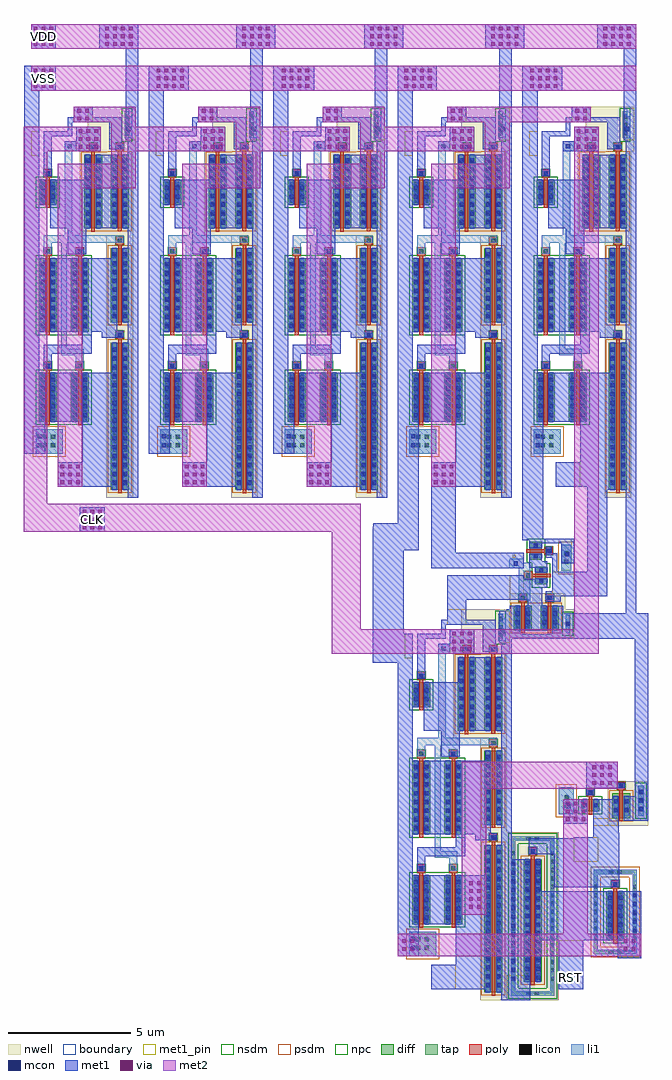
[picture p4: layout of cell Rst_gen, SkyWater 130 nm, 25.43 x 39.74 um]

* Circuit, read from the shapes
.subckt Rst_gen CLK RST VDD VSS
XM1 n1 n2 VSS VSS sky130_fd_pr__nfet_01v8 w=2 l=0.15
XM2 n3 CLK VSS VSS sky130_fd_pr__nfet_01v8 w=3 l=0.15
XM3 n4 Register_tspc_3/CLK VSS VSS sky130_fd_pr__nfet_01v8 w=1 l=0.15
XM4 Register_tspc_3/CLK CLK n1 VSS sky130_fd_pr__nfet_01v8 w=2 l=0.15
XM5 n2 n4 n3 VSS sky130_fd_pr__nfet_01v8 w=3 l=0.15
XM6 n5 n6 VSS VSS sky130_fd_pr__nfet_01v8 w=2 l=0.15
XM7 n7 Register_tspc_3/CLK VSS VSS sky130_fd_pr__nfet_01v8 w=3 l=0.15
XM8 n8 Register_tspc_4/CLK VSS VSS sky130_fd_pr__nfet_01v8 w=1 l=0.15
XM9 Register_tspc_4/CLK Register_tspc_3/CLK n5 VSS sky130_fd_pr__nfet_01v8 w=2 l=0.15
XM10 n6 n8 n7 VSS sky130_fd_pr__nfet_01v8 w=3 l=0.15
XM11 n9 n10 VSS VSS sky130_fd_pr__nfet_01v8 w=2 l=0.15
XM12 n11 Register_tspc_4/CLK VSS VSS sky130_fd_pr__nfet_01v8 w=3 l=0.15
XM13 n12 Register_tspc_6/CLK VSS VSS sky130_fd_pr__nfet_01v8 w=1 l=0.15
XM14 Register_tspc_6/CLK Register_tspc_4/CLK n9 VSS sky130_fd_pr__nfet_01v8 w=2 l=0.15
XM15 n10 n12 n11 VSS sky130_fd_pr__nfet_01v8 w=3 l=0.15
XM16 n13 n14 VSS VSS sky130_fd_pr__nfet_01v8 w=2 l=0.15
XM17 n15 CLK VSS VSS sky130_fd_pr__nfet_01v8 w=3 l=0.15
XM18 n16 Register_tspc_7/D VSS VSS sky130_fd_pr__nfet_01v8 w=1 l=0.15
XM19 n17 n18 VSS VSS sky130_fd_pr__nfet_01v8 w=2 l=0.15
XM20 n19 Register_tspc_6/CLK VSS VSS sky130_fd_pr__nfet_01v8 w=3 l=0.15
XM21 n20 Register_tspc_6/D VSS VSS sky130_fd_pr__nfet_01v8 w=1 l=0.15
XM22 Register_tspc_7/Qc CLK n13 VSS sky130_fd_pr__nfet_01v8 w=2 l=0.15
XM23 n14 n16 n15 VSS sky130_fd_pr__nfet_01v8 w=3 l=0.15
XM24 Register_tspc_6/D Register_tspc_6/CLK n17 VSS sky130_fd_pr__nfet_01v8 w=2 l=0.15
XM25 n18 n20 n19 VSS sky130_fd_pr__nfet_01v8 w=3 l=0.15
XM26 VSS NAND2-1_2/In_2 n21 VSS sky130_fd_pr__nfet_01v8 w=0.5 l=0.15
XM27 n21 Register_tspc_6/D Register_tspc_7/D VSS sky130_fd_pr__nfet_01v8 w=0.5 l=0.15
XM28 n22 n23 VSS VSS sky130_fd_pr__nfet_01v8 w=2 l=0.15
XM29 n24 CLK VSS VSS sky130_fd_pr__nfet_01v8 w=3 l=0.15
XM30 n25 Register_tspc_6/D VSS VSS sky130_fd_pr__nfet_01v8 w=1 l=0.15
XM31 NAND2-1_2/In_2 CLK n22 VSS sky130_fd_pr__nfet_01v8 w=2 l=0.15
XM32 n23 n25 n24 VSS sky130_fd_pr__nfet_01v8 w=3 l=0.15
XM33 InvBig_1/In Register_tspc_7/Qc VSS VSS sky130_fd_pr__nfet_01v8 w=0.5 l=0.15
XM34 VSS InvBig_1/In RST VSS sky130_fd_pr__nfet_01v8 w=2 l=0.15
XM35 n26 CLK n4 VDD sky130_fd_pr__pfet_01v8 w=3 l=0.15
XM36 VDD Register_tspc_3/CLK n26 VDD sky130_fd_pr__pfet_01v8 w=3 l=0.15
XM37 VDD n2 Register_tspc_3/CLK VDD sky130_fd_pr__pfet_01v8 w=6 l=0.15
XM38 VDD CLK n2 VDD sky130_fd_pr__pfet_01v8 w=3 l=0.15
XM39 n27 Register_tspc_3/CLK n8 VDD sky130_fd_pr__pfet_01v8 w=3 l=0.15
XM40 VDD Register_tspc_4/CLK n27 VDD sky130_fd_pr__pfet_01v8 w=3 l=0.15
XM41 VDD n6 Register_tspc_4/CLK VDD sky130_fd_pr__pfet_01v8 w=6 l=0.15
XM42 VDD Register_tspc_3/CLK n6 VDD sky130_fd_pr__pfet_01v8 w=3 l=0.15
XM43 n28 Register_tspc_4/CLK n12 VDD sky130_fd_pr__pfet_01v8 w=3 l=0.15
XM44 VDD Register_tspc_6/CLK n28 VDD sky130_fd_pr__pfet_01v8 w=3 l=0.15
XM45 VDD n10 Register_tspc_6/CLK VDD sky130_fd_pr__pfet_01v8 w=6 l=0.15
XM46 VDD Register_tspc_4/CLK n10 VDD sky130_fd_pr__pfet_01v8 w=3 l=0.15
XM47 n29 CLK n16 VDD sky130_fd_pr__pfet_01v8 w=3 l=0.15
XM48 n30 Register_tspc_6/CLK n20 VDD sky130_fd_pr__pfet_01v8 w=3 l=0.15
XM49 VDD Register_tspc_7/D n29 VDD sky130_fd_pr__pfet_01v8 w=3 l=0.15
XM50 VDD Register_tspc_6/D n30 VDD sky130_fd_pr__pfet_01v8 w=3 l=0.15
XM51 VDD n14 Register_tspc_7/Qc VDD sky130_fd_pr__pfet_01v8 w=6 l=0.15
XM52 VDD CLK n14 VDD sky130_fd_pr__pfet_01v8 w=3 l=0.15
XM53 VDD n18 Register_tspc_6/D VDD sky130_fd_pr__pfet_01v8 w=6 l=0.15
XM54 VDD Register_tspc_6/CLK n18 VDD sky130_fd_pr__pfet_01v8 w=3 l=0.15
XM55 Register_tspc_7/D Register_tspc_6/D VDD VDD sky130_fd_pr__pfet_01v8 w=1 l=0.15
XM56 RST InvBig_1/In VDD VDD sky130_fd_pr__pfet_01v8 w=5 l=0.15
XM57 VDD NAND2-1_2/In_2 Register_tspc_7/D VDD sky130_fd_pr__pfet_01v8 w=1 l=0.15
XM58 n31 CLK n25 VDD sky130_fd_pr__pfet_01v8 w=3 l=0.15
XM59 VDD Register_tspc_6/D n31 VDD sky130_fd_pr__pfet_01v8 w=3 l=0.15
XM60 VDD n23 NAND2-1_2/In_2 VDD sky130_fd_pr__pfet_01v8 w=6 l=0.15
XM61 VDD CLK n23 VDD sky130_fd_pr__pfet_01v8 w=3 l=0.15
XM62 VDD Register_tspc_7/Qc InvBig_1/In VDD sky130_fd_pr__pfet_01v8 w=1 l=0.15
.ends

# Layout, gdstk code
from math import pi, radians
import gdstk
lib = gdstk.Library(unit=1e-6, precision=1e-09)
def R(c, l, rs):  # rectangles x0, y0, x1, y1
    for r in rs: c.add(gdstk.rectangle(r[:2], r[2:], *l))
def A(c, l, x, y, w, h, nx, ny, dx, dy):  # array of equal rectangles
    R(c, l, [(x+i*dx, y+j*dy, x+i*dx+w, y+j*dy+h) for i in range(nx) for j in range(ny)])
nwell = (64, 20)
diff = (65, 20)
tap = (65, 44)
poly = (66, 20)
licon = (66, 44)
li1 = (67, 20)
mcon = (67, 44)
met1_pin = (68, 16)
met1 = (68, 20)
via = (68, 44)
met2 = (69, 20)
nsdm = (93, 44)
psdm = (94, 20)
npc = (95, 20)
boundary = (235, 4)

sky130_fd_pr__nfet_01v8_ = lib.new_cell('sky130_fd_pr__nfet_01v8_8DMXDH')
R(sky130_fd_pr__nfet_01v8_, diff, [(-0.365,-0.405,0.365,0.095)])
R(sky130_fd_pr__nfet_01v8_, poly, [(-0.075,-0.535,0.075,0.205), (-0.165,0.205,0.165,0.535)])
R(sky130_fd_pr__nfet_01v8_, licon, [(-0.305,-0.24,-0.135,-0.07), (0.135,-0.24,0.305,-0.07), (-0.085,0.285,0.085,0.455)])
R(sky130_fd_pr__nfet_01v8_, li1, [(-0.305,-0.425,-0.135,0.115), (0.135,-0.425,0.305,0.115), (-0.165,0.285,0.165,0.455)])
R(sky130_fd_pr__nfet_01v8_, mcon, [(-0.305,-0.24,-0.135,-0.07), (0.135,-0.24,0.305,-0.07), (-0.085,0.285,0.085,0.455)])
R(sky130_fd_pr__nfet_01v8_, met1, [(-0.335,-0.405,-0.105,0.095), (0.105,-0.405,0.335,0.095), (-0.145,0.255,0.145,0.485)])
R(sky130_fd_pr__nfet_01v8_, nsdm, [(-0.49,-0.53,0.49,0.22)])
R(sky130_fd_pr__nfet_01v8_, npc, [(-0.185,0.185,0.185,0.555)])

sky130_fd_pr__pfet_01v8_ = lib.new_cell('sky130_fd_pr__pfet_01v8_F97YLM')
R(sky130_fd_pr__pfet_01v8_, nwell, [(-0.545,-0.99,0.545,0.82)])
R(sky130_fd_pr__pfet_01v8_, diff, [(-0.365,-0.68,0.365,0.32)])
R(sky130_fd_pr__pfet_01v8_, poly, [(-0.075,-0.81,0.075,0.475), (-0.165,0.475,0.165,0.805)])
R(sky130_fd_pr__pfet_01v8_, licon, [(-0.305,-0.435,-0.135,-0.265), (0.135,-0.435,0.305,-0.265), (-0.305,-0.095,-0.135,0.075), (0.135,-0.095,0.305,0.075), (-0.085,0.555,0.085,0.725)])
R(sky130_fd_pr__pfet_01v8_, li1, [(-0.305,-0.59,-0.135,0.23), (0.135,-0.59,0.305,0.23), (-0.165,0.555,0.165,0.725)])
R(sky130_fd_pr__pfet_01v8_, mcon, [(-0.305,-0.445,-0.135,-0.275), (0.135,-0.445,0.305,-0.275), (-0.305,-0.085,-0.135,0.085), (0.135,-0.085,0.305,0.085), (-0.085,0.555,0.085,0.725)])
R(sky130_fd_pr__pfet_01v8_, met1, [(-0.335,-0.57,-0.105,0.21), (0.105,-0.57,0.335,0.21), (-0.145,0.525,0.145,0.755)])
R(sky130_fd_pr__pfet_01v8_, psdm, [(-0.49,-0.805,0.49,0.445)])
R(sky130_fd_pr__pfet_01v8_, npc, [(-0.185,0.455,0.185,0.825)])

inv2_1 = lib.new_cell('Inv2-1')
R(inv2_1, met1_pin, [(2.73,-3.84,3.04,-2.84)])
R(inv2_1, met1, [(1.96,-4.31,2.96,-4.05), (1.23,-4.11,1.8,-3.78), (1.96,-3.84,3.04,-2.95), (1.23,-3.78,1.52,-2.84), (2.06,-2.95,3.04,-2.8), (1.84,-2.59,2.84,-2.15)])
inv2_1.add(gdstk.Reference(sky130_fd_pr__nfet_01v8_, (2.055,-3.945), rotation=pi/2))
inv2_1.add(gdstk.Reference(sky130_fd_pr__pfet_01v8_, (2.05,-2.695), rotation=pi/2))
inv2_1.add(gdstk.Label('Out', (2.885,-3.34), layer=68, texttype=5))

c_sky130_fd_pr__nfet_01v8_ = lib.new_cell('sky130_fd_pr__nfet_01v8_K8KUUE')
R(c_sky130_fd_pr__nfet_01v8_, diff, [(-0.365,-1.155,0.365,0.845)])
R(c_sky130_fd_pr__nfet_01v8_, tap, [(-0.875,-1.715,0.875,-1.545), (-0.875,-1.545,-0.705,1.545), (0.705,-1.545,0.875,1.545), (-0.875,1.545,0.875,1.715)])
R(c_sky130_fd_pr__nfet_01v8_, poly, [(-0.075,-1.285,0.075,0.955), (-0.165,0.955,0.165,1.285)])
A(c_sky130_fd_pr__nfet_01v8_, licon, -0.875, -1.105, 0.17, 0.17, 1, 7, 0, 0.34)
A(c_sky130_fd_pr__nfet_01v8_, licon, 0.705, -1.105, 0.17, 0.17, 1, 7, 0, 0.34)
A(c_sky130_fd_pr__nfet_01v8_, licon, -0.305, -1.09, 0.17, 0.17, 1, 6, 0, 0.34)
A(c_sky130_fd_pr__nfet_01v8_, licon, 0.135, -1.09, 0.17, 0.17, 1, 6, 0, 0.34)
R(c_sky130_fd_pr__nfet_01v8_, licon, [(-0.255,-1.715,-0.085,-1.545), (0.085,-1.715,0.255,-1.545), (-0.085,1.035,0.085,1.205), (-0.255,1.545,-0.085,1.715), (0.085,1.545,0.255,1.715)])
R(c_sky130_fd_pr__nfet_01v8_, li1, [(-0.875,-1.715,0.875,-1.545), (-0.875,-1.545,-0.705,1.545), (0.705,-1.545,0.875,1.545), (-0.305,-1.175,-0.135,0.865), (0.135,-1.175,0.305,0.865), (-0.165,1.035,0.165,1.205), (-0.875,1.545,0.875,1.715)])
A(c_sky130_fd_pr__nfet_01v8_, mcon, -0.305, -0.96, 0.17, 0.17, 1, 5, 0, 0.36)
A(c_sky130_fd_pr__nfet_01v8_, mcon, 0.135, -0.96, 0.17, 0.17, 1, 5, 0, 0.36)
R(c_sky130_fd_pr__nfet_01v8_, mcon, [(-0.085,1.035,0.085,1.205)])
R(c_sky130_fd_pr__nfet_01v8_, met1, [(-0.335,-1.155,-0.105,0.845), (0.105,-1.155,0.335,0.845), (-0.145,1.005,0.145,1.235)])
R(c_sky130_fd_pr__nfet_01v8_, nsdm, [(-0.49,-1.28,0.49,0.97)])
R(c_sky130_fd_pr__nfet_01v8_, psdm, [(-1,-1.84,1,-1.42), (-1,-1.42,-0.58,1.42), (0.58,-1.42,1,1.42), (-1,1.42,1,1.84)])
R(c_sky130_fd_pr__nfet_01v8_, npc, [(-0.185,0.935,0.185,1.305)])
R(c_sky130_fd_pr__nfet_01v8_, boundary, [(-0.79,-1.63,0.79,1.63)])

c_sky130_fd_pr__pfet_01v8_ = lib.new_cell('sky130_fd_pr__pfet_01v8_KU9U2K')
R(c_sky130_fd_pr__pfet_01v8_, nwell, [(-1.055,-3.42,1.055,3.42)])
R(c_sky130_fd_pr__pfet_01v8_, diff, [(-0.365,-2.68,0.365,2.32)])
R(c_sky130_fd_pr__pfet_01v8_, tap, [(-0.875,-3.24,0.875,-3.07), (-0.875,-3.07,-0.705,3.07), (0.705,-3.07,0.875,3.07), (-0.875,3.07,0.875,3.24)])
R(c_sky130_fd_pr__pfet_01v8_, poly, [(-0.075,-2.81,0.075,2.475), (-0.165,2.475,0.165,2.805)])
A(c_sky130_fd_pr__pfet_01v8_, licon, -0.875, -2.635, 0.17, 0.17, 1, 16, 0, 0.34)
A(c_sky130_fd_pr__pfet_01v8_, licon, 0.705, -2.635, 0.17, 0.17, 1, 16, 0, 0.34)
A(c_sky130_fd_pr__pfet_01v8_, licon, -0.305, -2.475, 0.17, 0.17, 1, 14, 0, 0.34)
A(c_sky130_fd_pr__pfet_01v8_, licon, 0.135, -2.475, 0.17, 0.17, 1, 14, 0, 0.34)
R(c_sky130_fd_pr__pfet_01v8_, licon, [(-0.255,-3.24,-0.085,-3.07), (0.085,-3.24,0.255,-3.07), (-0.085,2.555,0.085,2.725), (-0.255,3.07,-0.085,3.24), (0.085,3.07,0.255,3.24)])
R(c_sky130_fd_pr__pfet_01v8_, li1, [(-0.875,-3.24,0.875,-3.07), (-0.875,-3.07,-0.705,3.07), (0.705,-3.07,0.875,3.07), (-0.305,-2.7,-0.135,2.34), (0.135,-2.7,0.305,2.34), (-0.165,2.555,0.165,2.725), (-0.875,3.07,0.875,3.24)])
A(c_sky130_fd_pr__pfet_01v8_, mcon, -0.305, -2.605, 0.17, 0.17, 1, 14, 0, 0.36)
A(c_sky130_fd_pr__pfet_01v8_, mcon, 0.135, -2.605, 0.17, 0.17, 1, 14, 0, 0.36)
R(c_sky130_fd_pr__pfet_01v8_, mcon, [(-0.085,2.555,0.085,2.725)])
R(c_sky130_fd_pr__pfet_01v8_, met1, [(-0.335,-2.68,-0.105,2.32), (0.105,-2.68,0.335,2.32), (-0.145,2.525,0.145,2.755)])
R(c_sky130_fd_pr__pfet_01v8_, nsdm, [(-1,-3.365,1,-2.945), (-1,-2.945,-0.58,2.945), (0.58,-2.945,1,2.945), (-1,2.945,1,3.365)])
R(c_sky130_fd_pr__pfet_01v8_, psdm, [(-0.49,-2.805,0.49,2.445)])
R(c_sky130_fd_pr__pfet_01v8_, npc, [(-0.185,2.455,0.185,2.825)])
R(c_sky130_fd_pr__pfet_01v8_, boundary, [(-0.79,-3.155,0.79,3.155)])

invbig = lib.new_cell('InvBig')
R(invbig, li1, [(4.93,-3.68,6.87,-3.51), (3.17,1.26,8.18,1.43)])
A(invbig, mcon, 5.21, -3.68, 0.17, 0.17, 5, 1, 0.36, 0)
A(invbig, mcon, 3.25, 1.26, 0.17, 0.17, 14, 1, 0.36, 0)
R(invbig, met1_pin, [(4.16,-3.86,5.16,-2.91), (8.09,-2.11,9.09,-1.11), (3.9,-1.5,4.9,-0.5), (2.47,0.66,3.47,1.61)])
R(invbig, met1, [(4.16,-3.86,6.9,-2.91), (7.06,-2.97,8.09,-2.11), (4.9,-2.7,6.9,-1.5), (7.06,-2.11,9.09,-1.11), (3.9,-1.5,6.9,-0.5), (7.06,-1.11,9.06,-0.32), (4.9,-0.5,6.9,0.45), (8.41,-0.32,9.06,0.72), (2.47,0.66,8.21,1.61)])
invbig.add(gdstk.Reference(c_sky130_fd_pr__nfet_01v8_, (6.055,-2.805), rotation=pi/2, x_reflection=True))
invbig.add(gdstk.Reference(c_sky130_fd_pr__pfet_01v8_, (5.89,0.555), rotation=pi/2, x_reflection=True))
invbig.add(gdstk.Label('VSS', (4.66,-3.385), layer=68, texttype=5))
invbig.add(gdstk.Label('Out', (4.4,-1), layer=68, texttype=5))
invbig.add(gdstk.Label('In', (8.59,-1.61), layer=68, texttype=5))
invbig.add(gdstk.Label('VDD', (2.97,1.135), layer=68, texttype=5))

c_sky130_fd_pr__nfet_01v8__ = lib.new_cell('sky130_fd_pr__nfet_01v8_CQHVT8')
R(c_sky130_fd_pr__nfet_01v8__, diff, [(-0.365,-0.405,0.365,0.095)])
R(c_sky130_fd_pr__nfet_01v8__, poly, [(-0.075,-0.535,0.075,0.205), (-0.165,0.205,0.165,0.535)])
R(c_sky130_fd_pr__nfet_01v8__, licon, [(-0.305,-0.24,-0.135,-0.07), (0.135,-0.24,0.305,-0.07), (-0.085,0.285,0.085,0.455)])
R(c_sky130_fd_pr__nfet_01v8__, li1, [(-0.305,-0.425,-0.135,0.115), (0.135,-0.425,0.305,0.115), (-0.165,0.285,0.165,0.455)])
R(c_sky130_fd_pr__nfet_01v8__, mcon, [(-0.305,-0.24,-0.135,-0.07), (0.135,-0.24,0.305,-0.07)])
R(c_sky130_fd_pr__nfet_01v8__, met1, [(-0.335,-0.405,-0.105,0.095), (0.105,-0.405,0.335,0.095)])
R(c_sky130_fd_pr__nfet_01v8__, nsdm, [(-0.49,-0.53,0.49,0.22)])
R(c_sky130_fd_pr__nfet_01v8__, npc, [(-0.185,0.185,0.185,0.555)])

c_sky130_fd_pr__pfet_01v8__ = lib.new_cell('sky130_fd_pr__pfet_01v8_AMN6CD')
R(c_sky130_fd_pr__pfet_01v8__, nwell, [(-0.545,-0.99,0.545,0.82)])
R(c_sky130_fd_pr__pfet_01v8__, diff, [(-0.365,-0.68,0.365,0.32)])
R(c_sky130_fd_pr__pfet_01v8__, poly, [(-0.075,-0.81,0.075,0.475), (-0.165,0.475,0.165,0.805)])
A(c_sky130_fd_pr__pfet_01v8__, licon, -0.305, -0.605, 0.17, 0.17, 1, 3, 0, 0.34)
A(c_sky130_fd_pr__pfet_01v8__, licon, 0.135, -0.605, 0.17, 0.17, 1, 3, 0, 0.34)
R(c_sky130_fd_pr__pfet_01v8__, licon, [(-0.085,0.555,0.085,0.725)])
R(c_sky130_fd_pr__pfet_01v8__, li1, [(-0.305,-0.7,-0.135,0.34), (0.135,-0.7,0.305,0.34), (-0.165,0.555,0.165,0.725)])
R(c_sky130_fd_pr__pfet_01v8__, mcon, [(-0.305,-0.445,-0.135,-0.275), (0.135,-0.445,0.305,-0.275), (-0.305,-0.085,-0.135,0.085), (0.135,-0.085,0.305,0.085)])
R(c_sky130_fd_pr__pfet_01v8__, met1, [(-0.335,-0.68,-0.105,0.32), (0.105,-0.68,0.335,0.32)])
R(c_sky130_fd_pr__pfet_01v8__, psdm, [(-0.49,-0.805,0.49,0.445)])
R(c_sky130_fd_pr__pfet_01v8__, npc, [(-0.185,0.455,0.185,0.825)])

c_sky130_fd_pr__pfet_01v8___ = lib.new_cell('sky130_fd_pr__pfet_01v8_CWU6PJ')
R(c_sky130_fd_pr__pfet_01v8___, nwell, [(-0.545,-0.99,0.545,0.82)])
R(c_sky130_fd_pr__pfet_01v8___, diff, [(-0.365,-0.68,0.365,0.32)])
R(c_sky130_fd_pr__pfet_01v8___, poly, [(-0.075,-0.81,0.075,0.475), (-0.165,0.475,0.165,0.805)])
A(c_sky130_fd_pr__pfet_01v8___, licon, -0.305, -0.605, 0.17, 0.17, 1, 3, 0, 0.34)
A(c_sky130_fd_pr__pfet_01v8___, licon, 0.135, -0.605, 0.17, 0.17, 1, 3, 0, 0.34)
R(c_sky130_fd_pr__pfet_01v8___, licon, [(-0.085,0.555,0.085,0.725)])
R(c_sky130_fd_pr__pfet_01v8___, li1, [(-0.305,-0.7,-0.135,0.34), (0.135,-0.7,0.305,0.34), (-0.165,0.555,0.165,0.725)])
R(c_sky130_fd_pr__pfet_01v8___, mcon, [(-0.305,-0.445,-0.135,-0.275), (0.135,-0.445,0.305,-0.275), (-0.305,-0.085,-0.135,0.085), (0.135,-0.085,0.305,0.085), (-0.085,0.555,0.085,0.725)])
R(c_sky130_fd_pr__pfet_01v8___, met1, [(-0.335,-0.68,-0.105,0.32), (0.105,-0.68,0.335,0.32), (-0.145,0.525,0.145,0.755)])
R(c_sky130_fd_pr__pfet_01v8___, psdm, [(-0.49,-0.805,0.49,0.445)])
R(c_sky130_fd_pr__pfet_01v8___, npc, [(-0.185,0.455,0.185,0.825)])

nand2_1 = lib.new_cell('NAND2-1')
R(nand2_1, nwell, [(2.07,-2.56,2.45,-1.93), (2.96,-2.28,3.52,-1.01), (1.7,-1.93,2.45,-1.04), (1.7,-1.04,2.5,-0.76), (1.7,-0.76,4.34,-0.75)])
R(nand2_1, tap, [(1.83,-4.55,2.23,-3.48), (1.88,-1.69,2.06,-0.96)])
R(nand2_1, licon, [(1.945,-4.285,2.115,-4.115), (1.945,-3.945,2.115,-3.775), (1.885,-1.42,2.055,-1.25)])
R(nand2_1, li1, [(1.83,-4.55,2.23,-3.48), (3.77,-3.97,4.34,-3.93), (3.77,-3.93,4.36,-3.81), (3.49,-3.81,4.36,-3.62), (3.49,-3.62,4.34,-3.59), (3.49,-3.59,3.96,-2.28), (1.88,-1.69,2.06,-0.96)])
R(nand2_1, mcon, [(1.91,-4.245,2.08,-4.075), (4,-3.865,4.17,-3.695), (1.885,-1.42,2.055,-1.25)])
R(nand2_1, met1_pin, [(1.7,-4.79,1.83,-3.79), (4.08,-4.14,4.21,-4.01), (1.7,-3.44,2.59,-2.44), (3.77,-3.31,4.34,-2.31), (1.7,-1.75,1.88,-0.75)])
R(nand2_1, met1, [(1.7,-4.79,3.52,-4.6), (1.7,-4.6,2.23,-3.79), (2.63,-4.46,2.86,-4.2), (3.77,-4.22,4.34,-3.93), (2.4,-4.2,2.86,-4.01), (3.02,-4.19,3.53,-3.87), (2.4,-4.01,2.59,-3.44), (3.77,-3.93,4.36,-3.62), (2.8,-3.87,3.53,-3.6), (3.77,-3.62,4.34,-3.59), (2.8,-3.6,3.3,-3.4), (1.7,-3.44,2.59,-2.66), (3.77,-3.31,4.34,-3.16), (2.8,-3.16,4.34,-2.8), (3,-2.8,4.34,-2.31), (1.7,-2.66,2.86,-2.44), (2.26,-2.44,2.86,-2.22), (3,-2.31,3.6,-2.07), (2.16,-2.07,2.6,-1.75), (2.81,-2.07,3.69,-1.05), (3.9,-2.07,4.34,-0.91), (1.7,-1.75,2.6,-1.14), (1.7,-1.14,2.61,-0.91), (1.7,-0.91,4.34,-0.72)])
R(nand2_1, nsdm, [(2.895,-3.805,3.425,-3.785), (1.755,-1.815,2.185,-0.835)])
R(nand2_1, psdm, [(1.705,-4.675,2.355,-3.355), (3.2,-2.19,3.305,-0.945)])
nand2_1.add(gdstk.Reference(c_sky130_fd_pr__nfet_01v8__, (3.205,-3.295), rotation=3*pi/2))
nand2_1.add(gdstk.Reference(c_sky130_fd_pr__pfet_01v8__, (3.795,-1.75), rotation=pi))
nand2_1.add(gdstk.Reference(sky130_fd_pr__nfet_01v8_, (3.115,-4.295), rotation=pi/2))
nand2_1.add(gdstk.Reference(c_sky130_fd_pr__pfet_01v8___, (2.71,-1.745), rotation=pi))
nand2_1.add(gdstk.Label('VSS', (1.765,-4.29), layer=68, texttype=5))
nand2_1.add(gdstk.Label('In_2', (2.145,-2.94), layer=68, texttype=5))
nand2_1.add(gdstk.Label('Out', (4.055,-2.81), layer=68, texttype=5))
nand2_1.add(gdstk.Label('In_1', (4.145,-4.075), layer=68, texttype=5))
nand2_1.add(gdstk.Label('VDD', (1.79,-1.25), layer=68, texttype=5))

c_sky130_fd_pr__pfet_01v8____ = lib.new_cell('sky130_fd_pr__pfet_01v8_5475HN')
R(c_sky130_fd_pr__pfet_01v8____, nwell, [(-0.545,-1.99,0.545,1.82)])
R(c_sky130_fd_pr__pfet_01v8____, diff, [(-0.365,-1.68,0.365,1.32)])
R(c_sky130_fd_pr__pfet_01v8____, poly, [(-0.075,-1.81,0.075,1.475), (-0.165,1.475,0.165,1.805)])
A(c_sky130_fd_pr__pfet_01v8____, licon, -0.305, -1.455, 0.17, 0.17, 1, 8, 0, 0.34)
A(c_sky130_fd_pr__pfet_01v8____, licon, 0.135, -1.455, 0.17, 0.17, 1, 8, 0, 0.34)
R(c_sky130_fd_pr__pfet_01v8____, licon, [(-0.085,1.555,0.085,1.725)])
R(c_sky130_fd_pr__pfet_01v8____, li1, [(-0.305,-1.7,-0.135,1.34), (0.135,-1.7,0.305,1.34), (-0.165,1.555,0.165,1.725)])
A(c_sky130_fd_pr__pfet_01v8____, mcon, -0.305, -1.525, 0.17, 0.17, 1, 8, 0, 0.36)
A(c_sky130_fd_pr__pfet_01v8____, mcon, 0.135, -1.525, 0.17, 0.17, 1, 8, 0, 0.36)
R(c_sky130_fd_pr__pfet_01v8____, mcon, [(-0.085,1.555,0.085,1.725)])
R(c_sky130_fd_pr__pfet_01v8____, met1, [(-0.335,-1.68,-0.105,1.32), (0.105,-1.68,0.335,1.32), (-0.145,1.525,0.145,1.755)])
R(c_sky130_fd_pr__pfet_01v8____, psdm, [(-0.49,-1.805,0.49,1.445)])
R(c_sky130_fd_pr__pfet_01v8____, npc, [(-0.185,1.455,0.185,1.825)])

c_sky130_fd_pr__pfet_01v8_____ = lib.new_cell('sky130_fd_pr__pfet_01v8_YRA8CD')
R(c_sky130_fd_pr__pfet_01v8_____, nwell, [(-0.545,-1.99,0.545,1.82)])
R(c_sky130_fd_pr__pfet_01v8_____, diff, [(-0.365,-1.68,0.365,1.32)])
R(c_sky130_fd_pr__pfet_01v8_____, poly, [(-0.075,-1.81,0.075,1.475), (-0.165,1.475,0.165,1.805)])
A(c_sky130_fd_pr__pfet_01v8_____, licon, -0.305, -1.455, 0.17, 0.17, 1, 8, 0, 0.34)
A(c_sky130_fd_pr__pfet_01v8_____, licon, 0.135, -1.455, 0.17, 0.17, 1, 8, 0, 0.34)
R(c_sky130_fd_pr__pfet_01v8_____, licon, [(-0.085,1.555,0.085,1.725)])
R(c_sky130_fd_pr__pfet_01v8_____, li1, [(-0.305,-1.7,-0.135,1.34), (0.135,-1.7,0.305,1.34), (-0.165,1.555,0.165,1.725)])
A(c_sky130_fd_pr__pfet_01v8_____, mcon, -0.305, -1.525, 0.17, 0.17, 1, 8, 0, 0.36)
A(c_sky130_fd_pr__pfet_01v8_____, mcon, 0.135, -1.525, 0.17, 0.17, 1, 8, 0, 0.36)
R(c_sky130_fd_pr__pfet_01v8_____, met1, [(-0.335,-1.68,-0.105,1.32), (0.105,-1.68,0.335,1.32)])
R(c_sky130_fd_pr__pfet_01v8_____, psdm, [(-0.49,-1.805,0.49,1.445)])
R(c_sky130_fd_pr__pfet_01v8_____, npc, [(-0.185,1.455,0.185,1.825)])

c_sky130_fd_pr__nfet_01v8___ = lib.new_cell('sky130_fd_pr__nfet_01v8_NTFR9R')
R(c_sky130_fd_pr__nfet_01v8___, diff, [(-0.365,-0.655,0.365,0.345)])
R(c_sky130_fd_pr__nfet_01v8___, poly, [(-0.075,-0.785,0.075,0.455), (-0.165,0.455,0.165,0.785)])
A(c_sky130_fd_pr__nfet_01v8___, licon, -0.305, -0.58, 0.17, 0.17, 1, 3, 0, 0.34)
A(c_sky130_fd_pr__nfet_01v8___, licon, 0.135, -0.58, 0.17, 0.17, 1, 3, 0, 0.34)
R(c_sky130_fd_pr__nfet_01v8___, licon, [(-0.085,0.535,0.085,0.705)])
R(c_sky130_fd_pr__nfet_01v8___, li1, [(-0.305,-0.675,-0.135,0.365), (0.135,-0.675,0.305,0.365), (-0.165,0.535,0.165,0.705)])
R(c_sky130_fd_pr__nfet_01v8___, mcon, [(-0.305,-0.42,-0.135,-0.25), (0.135,-0.42,0.305,-0.25), (-0.305,-0.06,-0.135,0.11), (0.135,-0.06,0.305,0.11), (-0.085,0.535,0.085,0.705)])
R(c_sky130_fd_pr__nfet_01v8___, met1, [(-0.335,-0.655,-0.105,0.345), (0.105,-0.655,0.335,0.345), (-0.145,0.505,0.145,0.735)])
R(c_sky130_fd_pr__nfet_01v8___, nsdm, [(-0.49,-0.78,0.49,0.47)])
R(c_sky130_fd_pr__nfet_01v8___, npc, [(-0.185,0.435,0.185,0.805)])

c_sky130_fd_pr__nfet_01v8____ = lib.new_cell('sky130_fd_pr__nfet_01v8_5R7S7E')
R(c_sky130_fd_pr__nfet_01v8____, diff, [(-0.365,-1.655,0.365,1.345)])
R(c_sky130_fd_pr__nfet_01v8____, poly, [(-0.075,-1.785,0.075,1.455), (-0.165,1.455,0.165,1.785)])
A(c_sky130_fd_pr__nfet_01v8____, licon, -0.305, -1.43, 0.17, 0.17, 1, 8, 0, 0.34)
A(c_sky130_fd_pr__nfet_01v8____, licon, 0.135, -1.43, 0.17, 0.17, 1, 8, 0, 0.34)
R(c_sky130_fd_pr__nfet_01v8____, licon, [(-0.085,1.535,0.085,1.705)])
R(c_sky130_fd_pr__nfet_01v8____, li1, [(-0.305,-1.675,-0.135,1.365), (0.135,-1.675,0.305,1.365), (-0.165,1.535,0.165,1.705)])
A(c_sky130_fd_pr__nfet_01v8____, mcon, -0.305, -1.5, 0.17, 0.17, 1, 8, 0, 0.36)
A(c_sky130_fd_pr__nfet_01v8____, mcon, 0.135, -1.5, 0.17, 0.17, 1, 8, 0, 0.36)
R(c_sky130_fd_pr__nfet_01v8____, met1, [(-0.335,-1.655,-0.105,1.345), (0.105,-1.655,0.335,1.345)])
R(c_sky130_fd_pr__nfet_01v8____, nsdm, [(-0.49,-1.78,0.49,1.47)])
R(c_sky130_fd_pr__nfet_01v8____, npc, [(-0.185,1.435,0.185,1.805)])

c_sky130_fd_pr__nfet_01v8_____ = lib.new_cell('sky130_fd_pr__nfet_01v8_KNTFKG')
R(c_sky130_fd_pr__nfet_01v8_____, diff, [(-0.365,-1.655,0.365,1.345)])
R(c_sky130_fd_pr__nfet_01v8_____, poly, [(-0.075,-1.785,0.075,1.455), (-0.165,1.455,0.165,1.785)])
A(c_sky130_fd_pr__nfet_01v8_____, licon, -0.305, -1.43, 0.17, 0.17, 1, 8, 0, 0.34)
A(c_sky130_fd_pr__nfet_01v8_____, licon, 0.135, -1.43, 0.17, 0.17, 1, 8, 0, 0.34)
R(c_sky130_fd_pr__nfet_01v8_____, licon, [(-0.085,1.535,0.085,1.705)])
R(c_sky130_fd_pr__nfet_01v8_____, li1, [(-0.305,-1.675,-0.135,1.365), (0.135,-1.675,0.305,1.365), (-0.165,1.535,0.165,1.705)])
A(c_sky130_fd_pr__nfet_01v8_____, mcon, -0.305, -1.5, 0.17, 0.17, 1, 8, 0, 0.36)
A(c_sky130_fd_pr__nfet_01v8_____, mcon, 0.135, -1.5, 0.17, 0.17, 1, 8, 0, 0.36)
R(c_sky130_fd_pr__nfet_01v8_____, mcon, [(-0.085,1.535,0.085,1.705)])
R(c_sky130_fd_pr__nfet_01v8_____, met1, [(-0.335,-1.655,-0.105,1.345), (0.105,-1.655,0.335,1.345), (-0.145,1.505,0.145,1.735)])
R(c_sky130_fd_pr__nfet_01v8_____, nsdm, [(-0.49,-1.78,0.49,1.47)])
R(c_sky130_fd_pr__nfet_01v8_____, npc, [(-0.185,1.435,0.185,1.805)])

c_sky130_fd_pr__nfet_01v8______ = lib.new_cell('sky130_fd_pr__nfet_01v8_28RQMS')
R(c_sky130_fd_pr__nfet_01v8______, diff, [(-0.365,-1.155,0.365,0.845)])
R(c_sky130_fd_pr__nfet_01v8______, poly, [(-0.075,-1.285,0.075,0.955), (-0.165,0.955,0.165,1.285)])
A(c_sky130_fd_pr__nfet_01v8______, licon, -0.305, -1.09, 0.17, 0.17, 1, 6, 0, 0.34)
A(c_sky130_fd_pr__nfet_01v8______, licon, 0.135, -1.09, 0.17, 0.17, 1, 6, 0, 0.34)
R(c_sky130_fd_pr__nfet_01v8______, licon, [(-0.085,1.035,0.085,1.205)])
R(c_sky130_fd_pr__nfet_01v8______, li1, [(-0.305,-1.175,-0.135,0.865), (0.135,-1.175,0.305,0.865), (-0.165,1.035,0.165,1.205)])
A(c_sky130_fd_pr__nfet_01v8______, mcon, -0.305, -0.96, 0.17, 0.17, 1, 5, 0, 0.36)
A(c_sky130_fd_pr__nfet_01v8______, mcon, 0.135, -0.96, 0.17, 0.17, 1, 5, 0, 0.36)
R(c_sky130_fd_pr__nfet_01v8______, mcon, [(-0.085,1.035,0.085,1.205)])
R(c_sky130_fd_pr__nfet_01v8______, met1, [(-0.335,-1.155,-0.105,0.845), (0.105,-1.155,0.335,0.845), (-0.145,1.005,0.145,1.235)])
R(c_sky130_fd_pr__nfet_01v8______, nsdm, [(-0.49,-1.28,0.49,0.97)])
R(c_sky130_fd_pr__nfet_01v8______, npc, [(-0.185,0.935,0.185,1.305)])

c_sky130_fd_pr__pfet_01v8______ = lib.new_cell('sky130_fd_pr__pfet_01v8_C6DMSJ')
R(c_sky130_fd_pr__pfet_01v8______, nwell, [(-0.545,-3.49,0.545,3.32)])
R(c_sky130_fd_pr__pfet_01v8______, diff, [(-0.365,-3.18,0.365,2.82)])
R(c_sky130_fd_pr__pfet_01v8______, poly, [(-0.075,-3.31,0.075,2.975), (-0.165,2.975,0.165,3.305)])
A(c_sky130_fd_pr__pfet_01v8______, licon, -0.305, -2.985, 0.17, 0.17, 1, 17, 0, 0.34)
A(c_sky130_fd_pr__pfet_01v8______, licon, 0.135, -2.985, 0.17, 0.17, 1, 17, 0, 0.34)
R(c_sky130_fd_pr__pfet_01v8______, licon, [(-0.085,3.055,0.085,3.225)])
R(c_sky130_fd_pr__pfet_01v8______, li1, [(-0.305,-3.2,-0.135,2.84), (0.135,-3.2,0.305,2.84), (-0.165,3.055,0.165,3.225)])
A(c_sky130_fd_pr__pfet_01v8______, mcon, -0.305, -2.965, 0.17, 0.17, 1, 16, 0, 0.36)
A(c_sky130_fd_pr__pfet_01v8______, mcon, 0.135, -2.965, 0.17, 0.17, 1, 16, 0, 0.36)
R(c_sky130_fd_pr__pfet_01v8______, mcon, [(-0.085,3.055,0.085,3.225)])
R(c_sky130_fd_pr__pfet_01v8______, met1, [(-0.335,-3.18,-0.105,2.82), (0.105,-3.18,0.335,2.82), (-0.145,3.025,0.145,3.255)])
R(c_sky130_fd_pr__pfet_01v8______, psdm, [(-0.49,-3.305,0.49,2.945)])
R(c_sky130_fd_pr__pfet_01v8______, npc, [(-0.185,2.955,0.185,3.325)])

c_sky130_fd_pr__nfet_01v8_______ = lib.new_cell('sky130_fd_pr__nfet_01v8_TUG65L')
R(c_sky130_fd_pr__nfet_01v8_______, diff, [(-0.365,-1.155,0.365,0.845)])
R(c_sky130_fd_pr__nfet_01v8_______, poly, [(-0.075,-1.285,0.075,0.955), (-0.165,0.955,0.165,1.285)])
A(c_sky130_fd_pr__nfet_01v8_______, licon, -0.305, -1.09, 0.17, 0.17, 1, 6, 0, 0.34)
A(c_sky130_fd_pr__nfet_01v8_______, licon, 0.135, -1.09, 0.17, 0.17, 1, 6, 0, 0.34)
R(c_sky130_fd_pr__nfet_01v8_______, licon, [(-0.085,1.035,0.085,1.205)])
R(c_sky130_fd_pr__nfet_01v8_______, li1, [(-0.305,-1.175,-0.135,0.865), (0.135,-1.175,0.305,0.865), (-0.165,1.035,0.165,1.205)])
A(c_sky130_fd_pr__nfet_01v8_______, mcon, -0.305, -0.96, 0.17, 0.17, 1, 5, 0, 0.36)
A(c_sky130_fd_pr__nfet_01v8_______, mcon, 0.135, -0.96, 0.17, 0.17, 1, 5, 0, 0.36)
R(c_sky130_fd_pr__nfet_01v8_______, met1, [(-0.335,-1.155,-0.105,0.845), (0.105,-1.155,0.335,0.845)])
R(c_sky130_fd_pr__nfet_01v8_______, nsdm, [(-0.49,-1.28,0.49,0.97)])
R(c_sky130_fd_pr__nfet_01v8_______, npc, [(-0.185,0.935,0.185,1.305)])

register_tspc = lib.new_cell('Register_tspc')
R(register_tspc, nwell, [(6.75,-1.44,7.82,-1.11), (5.67,-1.11,7.82,0.74), (10.64,-0.35,17.45,0.74), (5.67,0.74,7.49,0.85)])
R(register_tspc, tap, [(18.81,-3.23,19.79,-2.13), (5.85,0.4,6.96,0.57)])
A(register_tspc, licon, 5.98, 0.4, 0.17, 0.17, 3, 1, 0.34, 0)
R(register_tspc, licon, [(19.025,-2.95,19.195,-2.78), (19.365,-2.95,19.535,-2.78), (19.025,-2.61,19.195,-2.44), (19.365,-2.61,19.535,-2.44)])
R(register_tspc, li1, [(18.81,-3.23,19.79,-2.13), (10.9,-2.91,11.65,-2.58), (10.9,-2.58,11.21,-2.2), (10.9,-2.2,15.78,-2.05), (7.08,-2.05,15.78,-1.96), (7.08,-1.96,11.21,-1.74), (15.53,-1.96,15.78,-1.6), (7.08,-1.74,7.48,-1.59), (10.9,-1.74,11.21,0.36), (15.53,-1.6,16.31,-1.27), (5.85,0.4,6.96,0.57), (6.06,0.57,6.96,0.7)])
R(register_tspc, mcon, [(19.005,-3.16,19.175,-2.99), (19.365,-3.16,19.535,-2.99), (7.19,-1.925,7.36,-1.755), (6.49,0.48,6.66,0.65)])
R(register_tspc, met1_pin, [(6.66,-3.42,7.66,-3.08), (20.14,-2.33,21.14,-1.33), (5.67,-1.69,6.31,-0.91), (6.48,-1.59,7.48,-0.59), (5.73,0.44,7.04,0.85)])
R(register_tspc, met1, [(6.66,-3.42,19.79,-3.08), (18.38,-3.08,19.79,-2.85), (6.66,-2.91,8.49,-2.58), (15.37,-2.91,16.34,-2.58), (8.65,-2.64,10.62,-1.93), (11.84,-2.64,14.84,-1.54), (16.5,-2.64,18.5,-1.54), (6.66,-2.58,6.88,-1.93), (15.37,-2.58,15.73,-1.33), (20.14,-2.33,21.14,-1.33), (7.08,-2.05,7.48,-1.59), (6.09,-1.93,6.88,-1.74), (8.65,-1.93,11.68,-1.18), (6.09,-1.74,6.31,-1.69), (5.67,-1.69,6.31,-0.91), (6.48,-1.59,7.48,-0.59), (11.84,-1.33,15.73,-0.95), (16.5,-1.33,21.14,-0.04), (8.65,-1.18,10.62,-1), (11.84,-0.95,14.84,-0.54), (6.09,-0.91,6.31,-0.24), (7.62,-0.79,10.62,0.09), (11.84,-0.54,15.07,0.09), (6.09,-0.24,7.41,0.28), (18.22,-0.04,21.14,0.02), (14.8,0.09,15.07,0.34), (5.73,0.44,7.04,0.52), (5.73,0.52,21.58,0.85)])
R(register_tspc, nsdm, [(11.715,-2.255,14.965,-1.925), (16.375,-2.255,18.625,-1.925), (5.725,0.275,7.085,0.695)])
R(register_tspc, psdm, [(18.685,-3.355,19.915,-2.005), (7.495,-0.405,10.74,-0.3)])
register_tspc.add(gdstk.Reference(c_sky130_fd_pr__pfet_01v8____, (8.935,0.19), rotation=pi/2))
register_tspc.add(gdstk.Reference(c_sky130_fd_pr__pfet_01v8_____, (12.76,0.195), rotation=pi/2))
register_tspc.add(gdstk.Reference(c_sky130_fd_pr__nfet_01v8___, (8.995,-2.745), rotation=pi/2))
register_tspc.add(gdstk.Reference(c_sky130_fd_pr__nfet_01v8____, (13.185,-2.745), rotation=pi/2))
register_tspc.add(gdstk.Reference(c_sky130_fd_pr__nfet_01v8_____, (13.185,-1.435), rotation=pi/2))
register_tspc.add(gdstk.Reference(c_sky130_fd_pr__nfet_01v8______, (17.345,-2.745), rotation=pi/2))
register_tspc.add(gdstk.Reference(c_sky130_fd_pr__pfet_01v8____, (8.94,-0.895), rotation=pi/2))
register_tspc.add(gdstk.Reference(c_sky130_fd_pr__pfet_01v8______, (18.09,0.195), rotation=pi/2))
register_tspc.add(gdstk.Reference(c_sky130_fd_pr__nfet_01v8_______, (17.345,-1.435), rotation=pi/2))
register_tspc.add(gdstk.Label('VDD', (6.385,0.645), layer=68, texttype=5))
register_tspc.add(gdstk.Label('VSS', (7.16,-3.25), layer=68, texttype=5))
register_tspc.add(gdstk.Label('Qc', (20.64,-1.83), layer=68, texttype=5))
register_tspc.add(gdstk.Label('CLK', (6.98,-1.09), layer=68, texttype=5))
register_tspc.add(gdstk.Label('D', (5.99,-1.3), layer=68, texttype=5))

rst_gen = lib.new_cell('Rst_gen')
R(rst_gen, nwell, [(20.79,-7.1,21.49,-5.29)])
R(rst_gen, tap, [(21.08,-6.69,21.31,-5.47), (17.85,-6.64,18.46,-5.54)])
A(rst_gen, licon, 21.11, -6.5, 0.17, 0.17, 1, 3, 0, 0.34)
R(rst_gen, licon, [(18.085,-6.365,18.255,-6.195), (18.085,-6.025,18.255,-5.855)])
R(rst_gen, li1, [(21.08,-6.69,21.31,-5.47), (17.85,-6.64,18.46,-5.54)])
A(rst_gen, mcon, 21.11, -6.52, 0.17, 0.17, 1, 3, 0, 0.36)
R(rst_gen, mcon, [(18.17,-6.405,18.34,-6.235)])
R(rst_gen, met1_pin, [(17.84,-13.77,18.84,-12.77), (-1.65,4.86,-0.65,5.86), (-3.64,22.83,-2.64,23.83), (-3.64,24.54,-2.64,25.54)])
A(rst_gen, met1, 0.52, 6.26, 0.21, 15.85, 3, 1, 5.07, 0)
A(rst_gen, met1, -2.52, 6.73, 0.94, 0.94, 3, 1, 5.07, 0)
A(rst_gen, met1, -1.78, 20.39, 0.94, 0.94, 5, 1, 5.07, 0)
A(rst_gen, met1, 1.15, 21.18, 0.62, 1.65, 4, 1, 5.07, 0)
A(rst_gen, met1, -1.88, 21.56, 0.72, 0.58, 5, 1, 5.07, 0)
A(rst_gen, met1, 0.22, 22.11, 0.51, 2.43, 3, 1, 5.07, 0)
R(rst_gen, met1, [(15.73,-14.2,15.94,1.71), (17.84,-13.77,18.84,-12.77), (11.28,-12.41,11.66,-12.38), (11.28,-12.38,12.11,-11.54), (20.28,-12.38,21.17,-11.54), (11.28,-11.54,11.66,-0.47), (13.99,-10.65,14.88,-9.2), (18.92,-9.05,20.13,-8.66), (18.92,-8.66,20.31,-7.8), (19.24,-7.8,20.31,-7.39), (19.24,-7.39,20.28,-6.94), (18.03,-7.02,19.03,-6.02), (20.49,-6.9,21.49,-5.9), (20.93,-5.9,21.49,0.5), (18.97,-5.58,20.25,-4.49), (10.28,-0.47,11.91,0.72), (13.43,-0.07,14.37,0.87), (18.04,0.5,21.49,1.54), (10.28,0.72,11.53,4.12), (13.3,1.49,14.08,2.1), (20.58,1.54,21.01,6.64), (13.3,2.1,16.02,3.1), (18.17,2.23,19.82,3.23), (19.01,3.23,19.82,6.57), (12.66,3.38,16.27,4.01), (12.66,4.01,13.66,7.18), (10.28,4.12,12.14,5.07), (16.64,4.19,17.16,4.39), (16.64,4.39,17.21,4.52), (16.36,4.52,17.21,8.76), (-1.65,4.86,-0.65,5.86), (10.29,5.07,12.14,5.21), (11.29,5.21,12.14,8.6), (15.73,6.26,15.94,21.89), (19.01,6.57,20.12,6.74), (20.8,6.64,21.01,21.8), (19.01,6.74,19.82,7.09), (12.69,7.18,13.63,7.67), (-3.92,8.05,-3.64,20.93), (1.15,8.05,1.43,21.18), (6.22,8.05,6.5,21.18), (11.29,8.6,11.57,21.18), (16.36,8.76,16.64,21.18), (-3.92,20.93,-3.3,22.83), (20.5,21.8,21.01,24.54), (15.43,21.89,15.94,24.54), (-3.92,22.83,-2.64,23.83), (1.15,22.83,2.78,23.83), (6.22,22.83,7.88,23.83), (11.29,22.83,12.87,23.83), (16.36,22.83,17.99,23.83), (-3.64,24.54,-2.64,25.54), (-0.86,24.54,0.73,25.54), (4.72,24.54,6.31,25.54), (9.92,24.54,11.51,25.54), (14.85,24.54,16.44,25.54), (19.42,24.54,21.01,25.54)])
A(rst_gen, via, 14.2, -10.48, 0.15, 0.15, 1, 4, 0, 0.32)
A(rst_gen, via, 14.52, -10.48, 0.15, 0.15, 1, 4, 0, 0.32)
A(rst_gen, via, 18.135, -6.915, 0.15, 0.15, 3, 3, 0.32, 0.32)
A(rst_gen, via, 19.215, -5.435, 0.15, 0.15, 3, 3, 0.32, 0.32)
A(rst_gen, via, 13.505, 0.005, 0.15, 0.15, 3, 3, 0.32, 0.32)
A(rst_gen, via, -1.545, 4.965, 0.15, 0.15, 3, 3, 0.32, 0.32)
A(rst_gen, via, -2.445, 6.805, 0.15, 0.15, 3, 3, 0.32, 0.32)
A(rst_gen, via, 2.625, 6.805, 0.15, 0.15, 3, 3, 0.32, 0.32)
A(rst_gen, via, 7.695, 6.805, 0.15, 0.15, 3, 3, 0.32, 0.32)
A(rst_gen, via, 12.765, 6.805, 0.15, 0.15, 3, 3, 0.32, 0.32)
A(rst_gen, via, -1.705, 20.465, 0.15, 0.15, 3, 3, 0.32, 0.32)
A(rst_gen, via, 3.365, 20.465, 0.15, 0.15, 3, 3, 0.32, 0.32)
A(rst_gen, via, 8.435, 20.465, 0.15, 0.15, 3, 3, 0.32, 0.32)
A(rst_gen, via, 13.505, 20.465, 0.15, 0.15, 3, 3, 0.32, 0.32)
A(rst_gen, via, 18.575, 20.465, 0.15, 0.15, 3, 3, 0.32, 0.32)
A(rst_gen, via, -3.535, 22.935, 0.15, 0.15, 3, 3, 0.32, 0.32)
A(rst_gen, via, 1.47, 22.935, 0.15, 0.15, 4, 3, 0.32, 0.32)
A(rst_gen, via, 6.57, 22.935, 0.15, 0.15, 4, 3, 0.32, 0.32)
A(rst_gen, via, 11.56, 22.935, 0.15, 0.15, 4, 3, 0.32, 0.32)
A(rst_gen, via, 16.68, 22.935, 0.15, 0.15, 4, 3, 0.32, 0.32)
A(rst_gen, via, -3.535, 24.645, 0.15, 0.15, 3, 3, 0.32, 0.32)
A(rst_gen, via, -0.62, 24.645, 0.15, 0.15, 4, 3, 0.32, 0.32)
A(rst_gen, via, 4.96, 24.645, 0.15, 0.15, 4, 3, 0.32, 0.32)
A(rst_gen, via, 10.16, 24.645, 0.15, 0.15, 4, 3, 0.32, 0.32)
A(rst_gen, via, 15.09, 24.645, 0.15, 0.15, 4, 3, 0.32, 0.32)
A(rst_gen, via, 19.66, 24.645, 0.15, 0.15, 4, 3, 0.32, 0.32)
R(rst_gen, via, [(11.475,-12.195,11.625,-12.045), (11.795,-12.195,11.945,-12.045), (20.49,-12.195,20.64,-12.045), (20.81,-12.195,20.96,-12.045), (11.475,-11.875,11.625,-11.725), (11.795,-11.875,11.945,-11.725), (20.49,-11.875,20.64,-11.725), (20.81,-11.875,20.96,-11.725), (-1.755,21.615,-1.605,21.765), (-1.435,21.615,-1.285,21.765), (3.315,21.615,3.465,21.765), (3.635,21.615,3.785,21.765), (8.385,21.615,8.535,21.765), (8.705,21.615,8.855,21.765), (13.455,21.615,13.605,21.765), (13.775,21.615,13.925,21.765), (18.525,21.615,18.675,21.765), (18.845,21.615,18.995,21.765), (-1.755,21.935,-1.605,22.085), (-1.435,21.935,-1.285,22.085), (3.315,21.935,3.465,22.085), (3.635,21.935,3.785,22.085), (8.385,21.935,8.535,22.085), (8.705,21.935,8.855,22.085), (13.455,21.935,13.605,22.085), (13.775,21.935,13.925,22.085), (18.525,21.935,18.675,22.085), (18.845,21.935,18.995,22.085)])
A(rst_gen, met2, -2.55, 6.7, 1, 12.15, 4, 1, 5.07, 0)
A(rst_gen, met2, -2.55, 18.85, 3.18, 1, 4, 1, 5.07, 0)
A(rst_gen, met2, -0.37, 19.85, 1, 0.51, 3, 1, 5.07, 0)
A(rst_gen, met2, -0.37, 20.36, 4.63, 1, 3, 1, 5.07, 0)
A(rst_gen, met2, -0.37, 21.36, 1, 0.17, 3, 1, 5.07, 0)
A(rst_gen, met2, -1.91, 21.53, 2.54, 0.64, 3, 1, 5.07, 0)
R(rst_gen, met2, [(11.28,-12.41,21.2,-11.51), (18.03,-11.51,19.03,-6.02), (13.9,-10.73,14.9,-5.59), (13.9,-5.59,20.25,-4.49), (8.6,-0.1,19.47,0.9), (8.6,0.9,9.78,4.86), (18.47,0.9,19.47,21.36), (-3.93,4.86,9.78,6), (-3.93,6,-2.98,20.36), (14.84,19.85,15.84,21.53), (-3.94,20.36,-0.81,21.36), (13.3,21.53,19.15,22.17), (-3.64,22.83,21.01,23.83), (-3.64,24.54,21.01,25.54)])
R(rst_gen, nsdm, [(20.955,-6.815,21.435,-5.345)])
R(rst_gen, psdm, [(17.725,-6.765,18.585,-5.415)])
rst_gen.add(gdstk.Reference(inv2_1, (23.08,-4.06), rotation=3*pi/2))
rst_gen.add(gdstk.Reference(invbig, (17.34,-16.67), rotation=pi/2))
rst_gen.add(gdstk.Reference(nand2_1, (20.18,-0.21), rotation=pi))
rst_gen.add(gdstk.Reference(register_tspc, (4.85,27.84), rotation=3*pi/2))
rst_gen.add(gdstk.Reference(register_tspc, (9.92,27.84), rotation=3*pi/2))
rst_gen.add(gdstk.Reference(register_tspc, (-0.22,27.84), rotation=3*pi/2))
rst_gen.add(gdstk.Reference(register_tspc, (14.99,27.84), rotation=3*pi/2))
rst_gen.add(gdstk.Reference(register_tspc, (14.99,7.38), rotation=3*pi/2))
rst_gen.add(gdstk.Reference(register_tspc, (20.06,27.84), rotation=3*pi/2))
rst_gen.add(gdstk.Label('RST', (18.34,-13.27), layer=68, texttype=5))
rst_gen.add(gdstk.Label('CLK', (-1.15,5.36), layer=68, texttype=5))
rst_gen.add(gdstk.Label('VSS', (-3.14,23.33), layer=68, texttype=5))
rst_gen.add(gdstk.Label('VDD', (-3.14,25.04), layer=68, texttype=5))

lib.write_gds('Rst_gen.gds')
